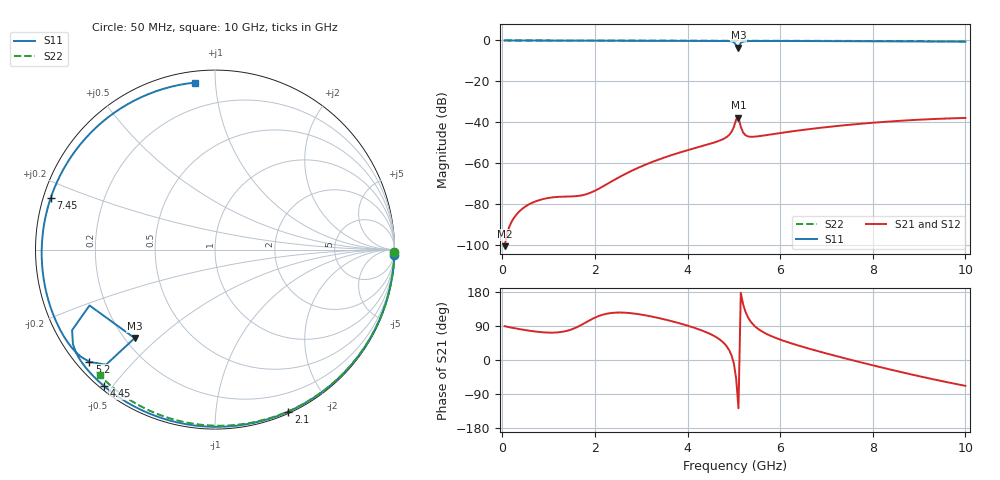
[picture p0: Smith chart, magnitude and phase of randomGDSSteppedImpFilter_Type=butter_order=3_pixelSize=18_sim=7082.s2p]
! freq	dB(S11)	phase(S11)	dB(S12)	phase(S12)
!  dB(S21)	phase(S21)	dB(S22)	phase(S22)
!S-par simulation data
#  GHz  S  DB  R 50
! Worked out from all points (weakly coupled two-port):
!   200 points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, 50 MHz to 10 GHz, reference 50 ohm
!   highest |S21| = -37.77 dB at 5.1 GHz (marker M1); lowest = -100.6 dB at 50 MHz (marker M2)
!   lowest |S11| = -3.5 dB at 5.1 GHz (marker M3), VSWR 4.99, Z = 11.9 - j21.1 ohm
!   |S11| at or under -10 dB: nowhere
!   |S22| runs from -0.4 to 0.0 dB; largest |S21 - S12| = 0
!   S11 on the Smith chart (normalised r, x): 50 MHz: 0, -70; 2.1 GHz: 0.02, -1.55; 4.45 GHz: 0.01, -0.48; 5.2 GHz: 0.04, -0.38; 7.45 GHz: 0.02, +0.15; 10 GHz: 0.06, +0.89
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0.05  -0.00 -1.6  -100.59 89.3  -100.59 89.3  -0.00 -0.8
0.6  -0.03 -19.4  -79.87 76.9  -79.87 76.9  -0.02 -9.2
0.85  -0.03 -27.4  -77.73 73.3  -77.73 73.3  -0.02 -12.9
1.75  -0.07 -55.3  -75.59 95.5  -75.59 95.5  -0.03 -26.4
2.1  -0.08 -65.7  -72.30 116.9  -72.30 116.9  -0.04 -31.6
2.75  -0.10 -84.2  -64.22 123.9  -64.22 123.9  -0.05 -41.0
3.4  -0.13 -101.8  -58.04 110.1  -58.04 110.1  -0.07 -50.3
4.45  -0.18 -129.2  -50.76 70.9  -50.76 70.9  -0.09 -64.8
4.9  -0.32 -143.5  -46.16 25.8  -46.16 25.8  -0.11 -70.8
5  -0.78 -150.6  -42.37 -8.8  -42.37 -8.8  -0.11 -72.1
5.05  -2.32 -156.0  -38.59 -49.3  -38.59 -49.3  -0.11 -72.8
5.1  -3.53 -132.2  -37.77 -127.5  -37.77 -127.5  -0.12 -73.4
5.15  -1.08 -133.4  -42.20 177.4  -42.20 177.4  -0.12 -74.1
5.2  -0.55 -138.2  -44.99 147.4  -44.99 147.4  -0.12 -74.7
5.3  -0.32 -143.7  -46.88 113.9  -46.88 113.9  -0.12 -76.0
5.4  -0.27 -147.3  -47.11 95.9  -47.11 95.9  -0.12 -77.3
6  -0.26 -163.1  -45.26 53.9  -45.26 53.9  -0.15 -85.0
6.7  -0.30 -179.7  -43.15 27.3  -43.15 27.3  -0.18 -93.8
7.45  -0.36 162.5  -41.33 2.8  -41.33 2.8  -0.22 -102.9
8.35  -0.43 140.5  -39.64 -24.4  -39.64 -24.4  -0.29 -113.5
9.25  -0.50 117.3  -38.48 -49.4  -38.48 -49.4  -0.37 -123.9
10  -0.56 96.8  -37.89 -68.2  -37.89 -68.2  -0.45 -132.4
